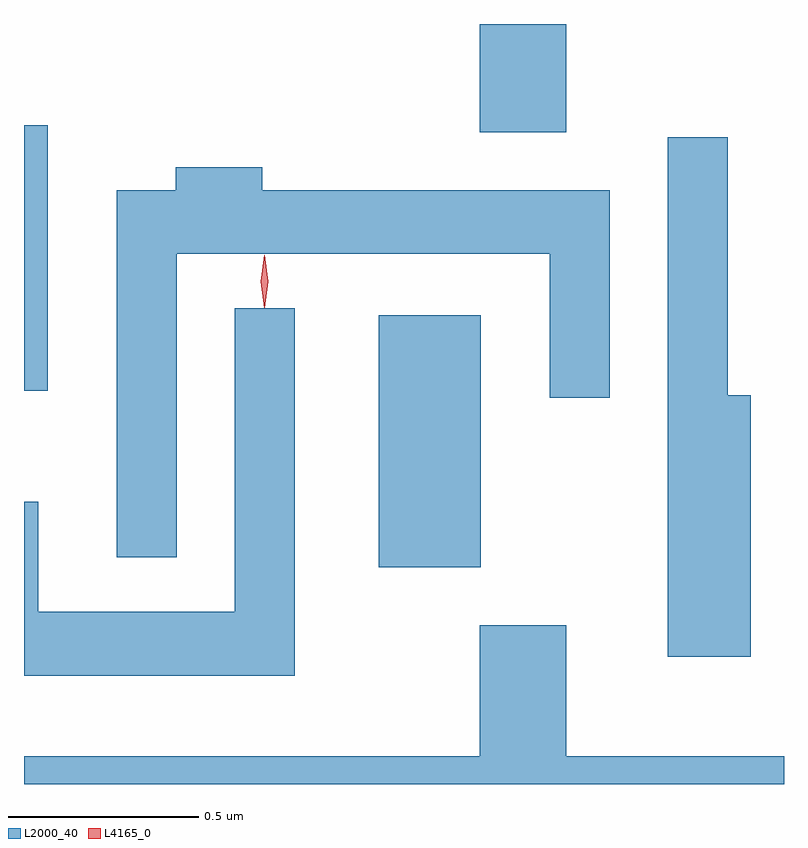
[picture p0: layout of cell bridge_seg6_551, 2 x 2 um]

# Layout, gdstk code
import gdstk
lib = gdstk.Library(unit=1e-6, precision=1e-09)
def R(c, l, rs):  # rectangles x0, y0, x1, y1
    for r in rs: c.add(gdstk.rectangle(r[:2], r[2:], *l))
def P(c, l, *ps):  # polygons
    for p in ps: c.add(gdstk.Polygon(p, *l))
L2000_40 = (2000, 40)
L4165_0 = (4165, 0)

bridge_seg6_551 = lib.new_cell('bridge_seg6_551')
R(bridge_seg6_551, L2000_40, [(512.366,1652.921,512.634,1653.584), (511.432,1653.386,511.494,1654.084), (512.631,1654.066,512.859,1654.351)])
P(bridge_seg6_551, L2000_40, [(513.344,1653.374),(513.284,1653.374),(513.284,1654.053),(513.126,1654.053),(513.126,1652.686),(513.344,1652.686)],
  [(511.834,1653.746),(512.816,1653.746),(512.816,1653.368),(512.974,1653.368),(512.974,1653.914),(512.059,1653.914),(512.059,1653.974),(511.831,1653.974),(511.831,1653.914),(511.676,1653.914),(511.676,1652.948),(511.834,1652.948)],
  [(512.144,1653.603),(511.986,1653.603),(511.986,1652.804),(511.469,1652.804),(511.469,1653.094),(511.432,1653.094),(511.432,1652.636),(512.144,1652.636)],
  [(513.432,1652.424),(512.859,1652.424),(512.859,1652.769),(512.631,1652.769),(512.631,1652.424),(511.432,1652.424),(511.432,1652.351),(513.432,1652.351)])
P(bridge_seg6_551, L4165_0, [(512.065,1653.607),(512.064,1653.608),(512.055,1653.674),(512.064,1653.74),(512.065,1653.741),(512.065,1653.74),(512.075,1653.674),(512.065,1653.608)],
  [(512.064,1653.604),(512.055,1653.673),(512.064,1653.742),(512.065,1653.743),(512.066,1653.742),(512.075,1653.673),(512.066,1653.604),(512.065,1653.604)])

lib.write_gds('bridge_seg6_551.gds')
